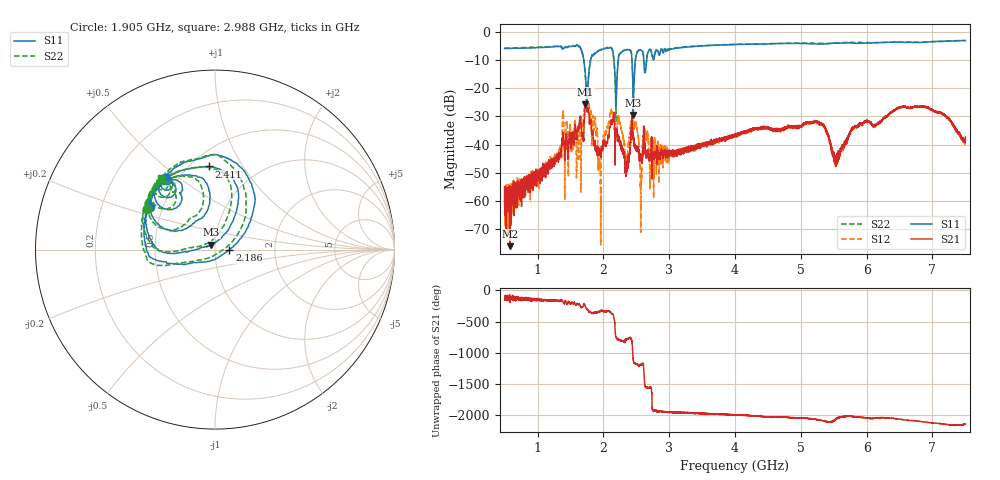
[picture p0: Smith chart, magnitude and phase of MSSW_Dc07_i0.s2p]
!Keysight Technologies,M9374A,MY55442783,A.12.55.05
!Date: Thursday, May 20, 2021 15:13:54
!Correction: S11(Full 2 Port(1,2))
!S21(Full 2 Port(1,2))
!S12(Full 2 Port(1,2))
!S22(Full 2 Port(1,2))
!S2P File: Measurements: S11, S21, S12, S22:
# Hz S  RI  R 50
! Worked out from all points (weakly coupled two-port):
!   7001 points, 500 MHz to 7.5 GHz, reference 50 ohm
!   highest |S21| = -25.72 dB at 1.728 GHz (marker M1); lowest = -75.9 dB at 585 MHz (marker M2)
!   lowest |S11| = -29.5 dB at 2.455 GHz (marker M3), VSWR 1.07, Z = 48 + j2.58 ohm
!   |S11| at or under -10 dB: 1.702 GHz to 1.807 GHz (104.8 MHz wide, 5.97 % of centre); 2.161 GHz to 2.227 GHz (66.62 MHz wide, 3.04 % of centre); 2.434 GHz to 2.486 GHz (52.21 MHz wide, 2.12 % of centre) (the widest 3 of 4)
!   |S22| runs from -31.6 to -3.2 dB; largest |S21 - S12| = 0.042
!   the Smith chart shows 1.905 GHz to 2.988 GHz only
!   S11 on the Smith chart (normalised r, x): 1.905 GHz: 0.42, +0.25; 2.186 GHz: 1.17, -0.00; 2.411 GHz: 0.61, +0.72; 2.988 GHz: 0.43, +0.46
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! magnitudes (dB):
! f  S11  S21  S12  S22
! 500 MHz  -6.0  -61.0  -64.9  -5.7
! 585 MHz  -5.9  -75.9  -56.9  -5.7
! 1.667 GHz  -6.7  -34.7  -38.8  -6.7
! 1.728 GHz  -15.5  -25.7  -24.7  -16.0
! 1.905 GHz  -7.3  -42.5  -34.1  -7.1
! 1.954 GHz  -6.5  -42.4  -49.9  -6.3
! 2.106 GHz  -5.6  -33.4  -28.9  -5.7
! 2.186 GHz  -21.9  -36.1  -33.0  -23.7
! 2.348 GHz  -6.5  -46.8  -49.0  -6.4
! 2.411 GHz  -6.7  -39.0  -33.6  -6.6
! 2.455 GHz  -29.5  -38.1  -34.0  -25.5
! 2.565 GHz  -6.5  -43.8  -57.3  -6.4
! 2.641 GHz  -14.1  -42.6  -37.3  -13.1
! 2.834 GHz  -7.3  -42.5  -39.7  -6.8
! 2.988 GHz  -6.2  -42.4  -44.0  -6.0
! 4 GHz  -4.6  -37.0  -36.8  -4.5
! 5.167 GHz  -4.3  -32.1  -32.2  -4.1
! 5.537 GHz  -4.0  -44.0  -45.9  -4.0
! 5.802 GHz  -4.0  -33.8  -34.0  -3.8
! 6.334 GHz  -3.8  -29.3  -29.5  -3.7
! 6.907 GHz  -3.8  -26.7  -26.7  -3.7
! 7.5 GHz  -3.1  -37.2  -38.5  -3.2
